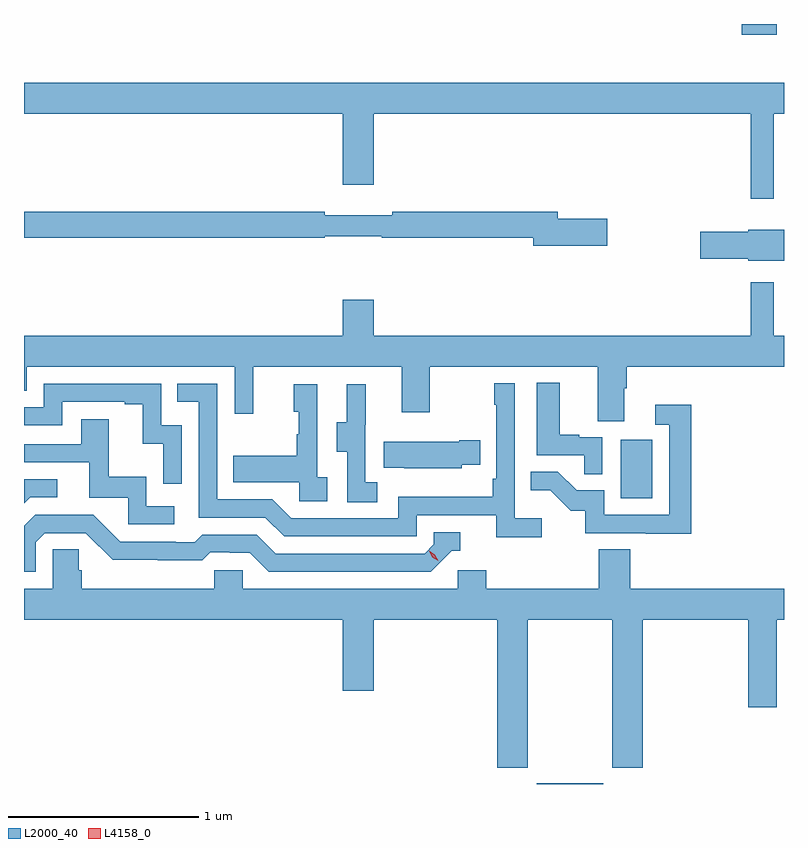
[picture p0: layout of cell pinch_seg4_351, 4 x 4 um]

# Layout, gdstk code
import gdstk
lib = gdstk.Library(unit=1e-6, precision=1e-09)
def R(c, l, rs):  # rectangles x0, y0, x1, y1
    for r in rs: c.add(gdstk.rectangle(r[:2], r[2:], *l))
def P(c, l, *ps):  # polygons
    for p in ps: c.add(gdstk.Polygon(p, *l))
L2000_40 = (2000, 40)
L4158_0 = (4158, 0)

pinch_seg4_351 = lib.new_cell('pinch_seg4_351')
R(pinch_seg4_351, L2000_40, [(1017.176,790.628,1017.526,790.633), (1017.62,792.132,1017.784,792.439), (1018.256,794.571,1018.439,794.628)])
P(pinch_seg4_351, L2000_40, [(1018.423,794.156),(1018.478,794.156),(1018.478,794.32),(1014.478,794.32),(1014.478,794.156),(1016.156,794.156),(1016.156,793.782),(1016.32,793.782),(1016.32,794.156),(1018.302,794.156),(1018.302,793.707),(1018.423,793.707)],
  [(1017.547,793.604),(1017.286,793.604),(1017.286,793.64),(1016.416,793.64),(1016.416,793.621),(1016.06,793.621),(1016.06,793.64),(1014.478,793.64),(1014.478,793.504),(1016.062,793.504),(1016.062,793.512),(1016.362,793.512),(1016.362,793.504),(1017.158,793.504),(1017.158,793.462),(1017.547,793.462)],
  [(1018.478,793.546),(1018.29,793.546),(1018.29,793.535),(1018.038,793.535),(1018.038,793.393),(1018.29,793.393),(1018.29,793.382),(1018.478,793.382)],
  [(1017.637,792.712),(1017.65,792.712),(1017.65,792.824),(1018.478,792.824),(1018.478,792.988),(1018.423,792.988),(1018.423,793.27),(1018.302,793.27),(1018.302,792.988),(1016.32,792.988),(1016.32,793.177),(1016.156,793.177),(1016.156,792.988),(1014.478,792.988),(1014.478,792.697),(1014.492,792.697),(1014.492,792.824),(1015.587,792.824),(1015.587,792.576),(1015.685,792.576),(1015.685,792.824),(1016.465,792.824),(1016.465,792.585),(1016.613,792.585),(1016.613,792.824),(1017.497,792.824),(1017.497,792.538),(1017.637,792.538)],
  [(1017.522,792.453),(1017.401,792.453),(1017.401,792.466),(1017.298,792.466),(1017.298,792.739),(1017.176,792.739),(1017.176,792.357),(1017.427,792.357),(1017.427,792.259),(1017.522,792.259)],
  [(1017.202,792.028),(1017.06,792.028),(1017.06,792.736),(1016.952,792.736),(1016.952,792.623),(1016.964,792.623),(1016.964,792.235),(1016.944,792.235),(1016.944,792.139),(1016.448,792.139),(1016.448,792.027),(1015.884,792.027),(1015.785,792.126),(1015.494,792.126),(1015.494,792.735),(1015.285,792.735),(1015.285,792.639),(1015.398,792.639),(1015.398,792.03),(1015.748,792.03),(1015.847,791.931),(1016.544,791.931),(1016.544,792.042),(1016.963,792.042),(1016.963,791.926),(1017.202,791.926)],
  [(1015.308,792.516),(1015.2,792.516),(1015.2,792.735),(1014.582,792.735),(1014.582,792.612),(1014.478,792.612),(1014.478,792.516),(1014.678,792.516),(1014.678,792.639),(1015.007,792.639),(1015.007,792.627),(1015.103,792.627),(1015.103,792.419),(1015.212,792.419),(1015.212,792.207),(1015.308,792.207)],
  [(1016.338,792.215),(1016.274,792.215),(1016.274,792.519),(1016.276,792.519),(1016.276,792.733),(1016.177,792.733),(1016.177,792.531),(1016.123,792.531),(1016.123,792.376),(1016.178,792.376),(1016.178,792.112),(1016.338,792.112)],
  [(1016.074,792.242),(1016.022,792.242),(1016.022,792.733),(1015.898,792.733),(1015.898,792.588),(1015.924,792.588),(1015.924,792.47),(1015.914,792.47),(1015.914,792.355),(1015.579,792.355),(1015.579,792.215),(1015.926,792.215),(1015.926,792.117),(1016.074,792.117)],
  [(1017.989,792.625),(1017.801,792.625),(1017.801,792.519),(1017.873,792.519),(1017.873,792.045),(1017.531,792.045),(1017.531,792.174),(1017.386,792.174),(1017.288,792.272),(1017.145,792.272),(1017.145,792.173),(1017.249,792.173),(1017.356,792.066),(1017.433,792.066),(1017.433,791.949),(1017.751,791.949),(1017.751,791.944),(1017.989,791.944)],
  [(1015.27,792.09),(1015.122,792.09),(1015.122,792.244),(1014.923,792.244),(1014.923,792.547),(1014.779,792.547),(1014.779,792.417),(1014.478,792.417),(1014.478,792.321),(1014.821,792.321),(1014.821,792.135),(1015.026,792.135),(1015.026,791.994),(1015.27,791.994)],
  [(1016.781,792.308),(1016.879,792.308),(1016.879,792.438),(1016.768,792.438),(1016.768,792.43),(1016.371,792.43),(1016.371,792.293),(1016.479,792.293),(1016.479,792.29),(1016.781,792.29)],
  [(1014.51,792.138),(1014.652,792.138),(1014.652,792.231),(1014.478,792.231),(1014.478,792.106)],
  [(1014.54,791.901),(1014.588,791.949),(1014.804,791.949),(1014.946,791.807),(1015.182,791.807),(1015.182,791.805),(1015.415,791.805),(1015.457,791.847),(1015.56,791.847),(1015.56,791.844),(1015.667,791.844),(1015.766,791.745),(1016.619,791.745),(1016.73,791.856),(1016.773,791.856),(1016.773,791.952),(1016.634,791.952),(1016.634,791.889),(1016.586,791.841),(1015.803,791.841),(1015.704,791.94),(1015.415,791.94),(1015.376,791.901),(1015.277,791.901),(1015.277,791.904),(1014.984,791.904),(1014.843,792.045),(1014.537,792.045),(1014.478,791.986),(1014.478,791.745),(1014.54,791.745)],
  [(1017.129,791.492),(1017.574,791.492),(1017.574,790.713),(1017.734,790.713),(1017.734,791.492),(1018.289,791.492),(1018.289,791.031),(1018.441,791.031),(1018.441,791.492),(1018.478,791.492),(1018.478,791.656),(1017.668,791.656),(1017.668,791.864),(1017.503,791.864),(1017.503,791.656),(1016.912,791.656),(1016.912,791.754),(1016.76,791.754),(1016.76,791.656),(1015.629,791.656),(1015.629,791.754),(1015.479,791.754),(1015.479,791.656),(1014.782,791.656),(1014.782,791.754),(1014.767,791.754),(1014.767,791.864),(1014.63,791.864),(1014.63,791.656),(1014.478,791.656),(1014.478,791.492),(1016.156,791.492),(1016.156,791.118),(1016.32,791.118),(1016.32,791.492),(1016.969,791.492),(1016.969,790.713),(1017.129,790.713)])
P(pinch_seg4_351, L4158_0, [(1016.657,791.802),(1016.626,791.822),(1016.61,791.855),(1016.61,791.855),(1016.61,791.855),(1016.641,791.835),(1016.657,791.803),(1016.657,791.802)])

lib.write_gds('pinch_seg4_351.gds')
